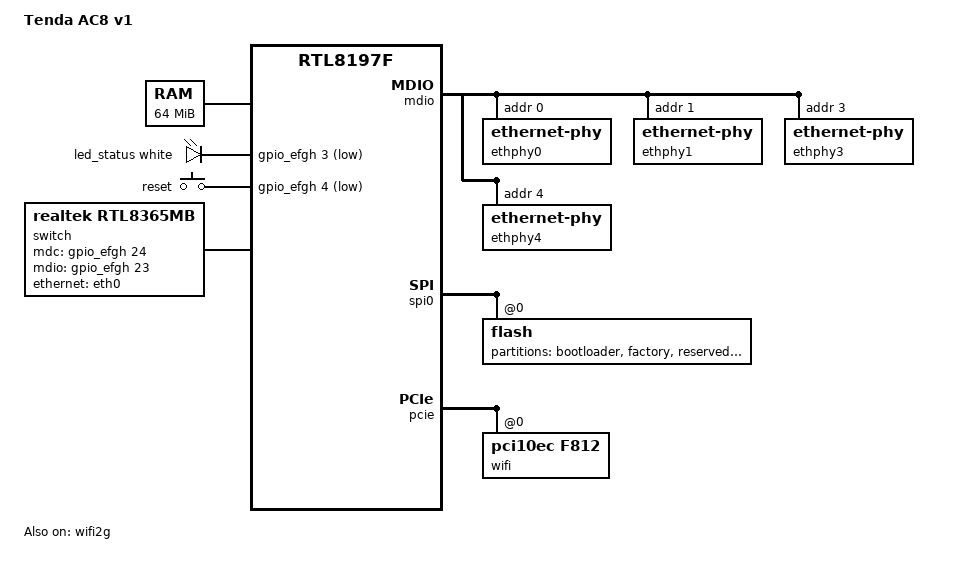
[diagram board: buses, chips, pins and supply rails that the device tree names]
// SPDX-License-Identifier: GPL-2.0-only OR MIT
/*
 * Tenda AC8 v1 (RTL8197FH + RTL8812FR + RTL8367RB-VB, 64 MiB DDR2).
 *
 * The stock board carries a 2 MiB SPI-NOR; this tree targets units upgraded
 * to an 8 MiB chip. Everything below was taken from the stock bootloader
 * (Realtek v3.4.13) and the stock eCos firmware V02.03.01.78, see
 * docs/hardware.md in the project repository.
 */

/dts-v1/;

#include "rtl8197f.dtsi"
#include <dt-bindings/gpio/gpio.h>
#include <dt-bindings/input/input.h>
#include <dt-bindings/leds/common.h>

/ {
	model = "Tenda AC8 v1";
	compatible = "tenda,ac8-v1", "realtek,rtl8197f";

	aliases {
		led-boot = &led_status;
		led-failsafe = &led_status;
		led-running = &led_status;
		led-upgrade = &led_status;
		label-mac-device = &eth0;
	};

	memory@0 {
		device_type = "memory";
		reg = <0x00000000 0x04000000>;
	};

	/*
	 * SoC GPIO ports E-H (linear GPIO 32..63) of the RTL8197F GPIO block:
	 * PEFGH_DIR at 0x18003524 (1 = output), PEFGH_DAT at 0x18003528.
	 * Line N of this controller is SoC GPIO 32 + N. The bootloader already
	 * muxes every line used here to GPIO function.
	 */
	gpio_efgh: gpio@18003528 {
		compatible = "brcm,bcm6345-gpio";
		reg = <0x18003528 0x4>, <0x18003524 0x4>;
		reg-names = "dat", "dirout";
		gpio-controller;
		#gpio-cells = <2>;
		ngpios = <32>;
	};

	leds {
		compatible = "gpio-leds";

		/* E3 (GPIO 35), the single front LED (stock "sys_led"/"wps_led") */
		led_status: led-0 {
			function = LED_FUNCTION_STATUS;
			color = <LED_COLOR_ID_WHITE>;
			gpios = <&gpio_efgh 3 GPIO_ACTIVE_LOW>;
			default-state = "on";
		};
	};

	/*
	 * E4 (GPIO 36), the WPS/RST button. The ictl cascade is not wired up
	 * yet, so the button is polled.
	 */
	keys {
		compatible = "gpio-keys-polled";
		poll-interval = <20>;

		button-reset {
			label = "reset";
			gpios = <&gpio_efgh 4 GPIO_ACTIVE_LOW>;
			linux,code = <KEY_RESTART>;
			debounce-interval = <60>;
		};
	};

	/*
	 * External RTL8367RB-VB (chip id 0x6367) carrying all physical ports,
	 * managed over bit-banged SMI: MDC = H0 (GPIO 56), MDIO = G7 (GPIO 55).
	 * Port map from the stock firmware: LAN1 = port 3, LAN2 = port 1,
	 * LAN3 = port 0, WAN = port 4, port 2 is not wired. Extension
	 * interface 1 (port 6, RGMII) is the CPU port, programmed by the stock
	 * firmware as 1000/full with RX delay 2 (600 ps) and no TX delay.
	 */
	switch {
		compatible = "realtek,rtl8365mb";
		mdc-gpios = <&gpio_efgh 24 GPIO_ACTIVE_HIGH>;
		mdio-gpios = <&gpio_efgh 23 GPIO_ACTIVE_HIGH>;

		ethernet-ports {
			#address-cells = <1>;
			#size-cells = <0>;

			ethernet-port@0 {
				reg = <0>;
				label = "lan3";
				phy-handle = <&ethphy0>;
			};

			ethernet-port@1 {
				reg = <1>;
				label = "lan2";
				phy-handle = <&ethphy1>;
			};

			ethernet-port@3 {
				reg = <3>;
				label = "lan1";
				phy-handle = <&ethphy3>;
			};

			ethernet-port@4 {
				reg = <4>;
				label = "wan";
				phy-handle = <&ethphy4>;
			};

			ethernet-port@6 {
				reg = <6>;
				ethernet = <&eth0>;
				phy-mode = "rgmii";
				rx-internal-delay-ps = <600>;
				tx-internal-delay-ps = <0>;

				fixed-link {
					speed = <1000>;
					full-duplex;
				};
			};
		};

		mdio {
			compatible = "realtek,smi-mdio";
			#address-cells = <1>;
			#size-cells = <0>;

			ethphy0: ethernet-phy@0 {
				reg = <0>;
			};

			ethphy1: ethernet-phy@1 {
				reg = <1>;
			};

			ethphy3: ethernet-phy@3 {
				reg = <3>;
			};

			ethphy4: ethernet-phy@4 {
				reg = <4>;
			};
		};
	};
};

&spi0 {
	status = "okay";

	flash@0 {
		partitions {
			compatible = "fixed-partitions";
			#address-cells = <1>;
			#size-cells = <1>;

			partition@0 {
				label = "bootloader";
				reg = <0x00000000 0x0001c000>;
				read-only;
			};

			/*
			 * Broadcom-style NVRAM ("FLSH" header, key=value pairs):
			 * MAC addresses (et0macaddr, wl0_hwaddr, wl1_hwaddr) and the
			 * HW_WLAN0_* (5 GHz) / HW_WLAN1_* (2.4 GHz) RF calibration.
			 */
			partition@1c000 {
				label = "factory";
				reg = <0x0001c000 0x00001000>;
				read-only;

				nvmem-layout {
					compatible = "fixed-layout";
					#address-cells = <1>;
					#size-cells = <1>;

					factory_nvram: nvram@0 {
						reg = <0x0 0x1000>;
					};
				};
			};

			partition@1d000 {
				label = "reserved";
				reg = <0x0001d000 0x00003000>;
				read-only;
			};

			/*
			 * Realtek "cs6c" image (loader + kernel) followed by the
			 * squashfs root filesystem; split by the cvimg parser.
			 */
			partition@20000 {
				compatible = "realtek,cvimg";
				label = "firmware";
				reg = <0x00020000 0x007e0000>;
			};
		};
	};
};

&eth0 {
	realtek,smi-pins = <56 55>;
};

&wifi2g {
	nvmem-cells = <&factory_nvram>;
	nvmem-cell-names = "nvram";
	status = "okay";
};

&pcie {
	pcie@0,0 {
		reg = <0x0000 0 0 0 0>;
		#address-cells = <3>;
		#size-cells = <2>;
		device_type = "pci";
		ranges;

		wifi@0,0 {
			compatible = "pci10ec,f812";
			reg = <0x0000 0 0 0 0>;
			ieee80211-freq-limit = <5000000 6000000>;
			nvmem-cells = <&factory_nvram>;
			nvmem-cell-names = "nvram";
		};
	};
};
